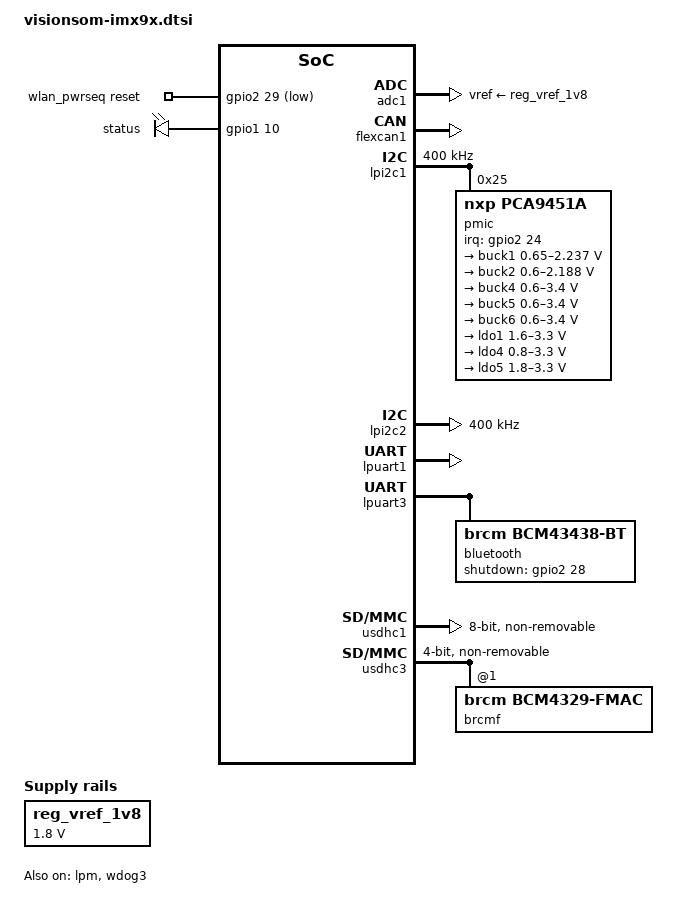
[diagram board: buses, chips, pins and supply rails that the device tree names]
// SPDX-License-Identifier: (GPL-2.0+ OR MIT)
/*
 * Copyright 2025 Somlabs
 */

// /dts-v1/;

&ele_fw2 {
	memory-region = <&ele_reserved>;
};

/ {
	chosen {
		stdout-path = &lpuart1;
	};

	reserved-memory {
		#address-cells = <2>;
		#size-cells = <2>;
		ranges;

		linux,cma {
			compatible = "shared-dma-pool";
			reusable;
			alloc-ranges = <0 0x80000000 0 0x40000000>;
			size = <0 0x10000000>;
			linux,cma-default;
		};

		ele_reserved: ele-reserved@a4120000 {
			compatible = "shared-dma-pool";
			reg = <0 0xa4120000 0 0x100000>;
			no-map;
		};
	};

	reg_vref_1v8: regulator-adc-vref {
		compatible = "regulator-fixed";
		regulator-name = "vref_1v8";
		regulator-min-microvolt = <1800000>;
		regulator-max-microvolt = <1800000>;
	};

	wlan_pwrseq: usdhc3_pwrseq {
		compatible = "mmc-pwrseq-simple";
		reset-gpios = <&gpio2 29 GPIO_ACTIVE_LOW>;	// WLAN-EN
	};

        leds {      /* dedicated led for system status */
                compatible = "gpio-leds";
                pinctrl-names = "default";
                pinctrl-0 = <&pinctrl_gpio_led>;

                status {
                        label = "status";
                        gpios = <&gpio1 10 0>;
                        linux,default-trigger = "heartbeat";
                };
        };
};

&sai1 {
	#sound-dai-cells = <0>;
	pinctrl-names = "default", "sleep";
	pinctrl-0 = <&pinctrl_sai1>;
	pinctrl-1 = <&pinctrl_sai1_sleep>;
	assigned-clock-rates = <12288000>;
	fsl,sai-mclk-direction-output;
	status = "disabled";
};

&adc1 {
	vref-supply = <&reg_vref_1v8>;
	status = "okay";
};

&flexcan1 {
	pinctrl-names = "default", "sleep";
	pinctrl-0 = <&pinctrl_flexcan1>;
	pinctrl-1 = <&pinctrl_flexcan1_sleep>;
	status = "okay";
};

&lpm {
	soc-supply = <&buck1>;
	status = "okay";
};

&lpi2c1 {
	#address-cells = <1>;
	#size-cells = <0>;
	clock-frequency = <400000>;
	pinctrl-names = "default", "sleep";
	pinctrl-0 = <&pinctrl_lpi2c1>;
	pinctrl-1 = <&pinctrl_lpi2c1>;
	status = "okay";

	pmic@25 {
		compatible = "nxp,pca9451a";
		reg = <0x25>;
		interrupt-parent = <&gpio2>;
		interrupts = <24 IRQ_TYPE_EDGE_FALLING>;

		pinctrl-names = "default";
		pinctrl-0 = <&pinctrl_pmic_int>;

		regulators {
			buck1: BUCK1 {
				regulator-name = "BUCK1";
				regulator-min-microvolt = <650000>;
				regulator-max-microvolt = <2237500>;
				regulator-boot-on;
				regulator-always-on;
				regulator-ramp-delay = <3125>;
			};

			buck2: BUCK2 {
				regulator-name = "BUCK2";
				regulator-min-microvolt = <600000>;
				regulator-max-microvolt = <2187500>;
				regulator-boot-on;
				regulator-always-on;
				regulator-ramp-delay = <3125>;
			};

			buck4: BUCK4{
				regulator-name = "BUCK4";
				regulator-min-microvolt = <600000>;
				regulator-max-microvolt = <3400000>;
				regulator-boot-on;
				regulator-always-on;
			};

			buck5: BUCK5{
				regulator-name = "BUCK5";
				regulator-min-microvolt = <600000>;
				regulator-max-microvolt = <3400000>;
				regulator-boot-on;
				regulator-always-on;
			};

			buck6: BUCK6 {
				regulator-name = "BUCK6";
				regulator-min-microvolt = <600000>;
				regulator-max-microvolt = <3400000>;
				regulator-boot-on;
				regulator-always-on;
			};

			ldo1: LDO1 {
				regulator-name = "LDO1";
				regulator-min-microvolt = <1600000>;
				regulator-max-microvolt = <3300000>;
				regulator-boot-on;
				regulator-always-on;
			};

			ldo4: LDO4 {
				regulator-name = "LDO4";
				regulator-min-microvolt = <800000>;
				regulator-max-microvolt = <3300000>;
				regulator-boot-on;
				regulator-always-on;
			};

			ldo5: LDO5 {
				regulator-name = "LDO5";
				regulator-min-microvolt = <1800000>;
				regulator-max-microvolt = <3300000>;
				regulator-boot-on;
				regulator-always-on;
			};
		};
	};

};

&lpi2c2 {
	#address-cells = <1>;
	#size-cells = <0>;
	clock-frequency = <400000>;
	pinctrl-names = "default", "sleep";
	pinctrl-0 = <&pinctrl_lpi2c2>;
	pinctrl-1 = <&pinctrl_lpi2c2>;
	status = "okay";

};

&lpi2c8 {
	#address-cells = <1>;
	#size-cells = <0>;
	clock-frequency = <400000>;
	pinctrl-names = "default", "sleep";
	pinctrl-0 = <&pinctrl_lpi2c8>;
	pinctrl-1 = <&pinctrl_lpi2c8>;
	status = "disabled";
};

&lpuart1 { /* console */
	pinctrl-names = "default";
	pinctrl-0 = <&pinctrl_uart1>;
	status = "okay";
};

&lpuart3 {
	#address-cells = <1>;
	#size-cells = <0>;
	/* BT */
	pinctrl-names = "default";
	pinctrl-0 = <&pinctrl_uart3>, <&pinctrl_bt_ctrl>;
	status = "okay";

	bluetooth {
		compatible = "brcm,bcm43438-bt";
		max-speed = <3000000>;
		shutdown-gpios = <&gpio2 28 GPIO_ACTIVE_HIGH>;
	};
};

&usdhc1 {       /* on board eMMC */
	pinctrl-names = "default", "state_100mhz", "state_200mhz";
	pinctrl-0 = <&pinctrl_usdhc1>;
	pinctrl-1 = <&pinctrl_usdhc1_100mhz>;
	pinctrl-2 = <&pinctrl_usdhc1_200mhz>;
	bus-width = <8>;
	non-removable;
	status = "okay";
};

&usdhc2 {       /* SDIO exposed on SODIMM - disabled by default */
	pinctrl-names = "default", "state_100mhz", "state_200mhz", "sleep";
	pinctrl-0 = <&pinctrl_usdhc2>;
	pinctrl-1 = <&pinctrl_usdhc2_100mhz>;
	pinctrl-2 = <&pinctrl_usdhc2_200mhz>;
	pinctrl-3 = <&pinctrl_usdhc2_sleep>;
	// vmmc-supply = <&reg_usdhc2_vmmc>;
	bus-width = <4>;
	status = "disabled";
};

&usdhc3 {       /* on-board WiFi module Murata 1YN */
	pinctrl-names = "default", "state_100mhz", "state_200mhz", "sleep";
	pinctrl-0 = <&pinctrl_usdhc3>, <&pinctrl_usdhc3_wlan>;
	pinctrl-1 = <&pinctrl_usdhc3_100mhz>, <&pinctrl_usdhc3_wlan>;
	pinctrl-2 = <&pinctrl_usdhc3_200mhz>, <&pinctrl_usdhc3_wlan>;
	pinctrl-3 = <&pinctrl_usdhc3_sleep>, <&pinctrl_usdhc3_wlan>;
	bus-width = <4>;
	pm-ignore-notify;
	keep-power-in-suspend;
	non-removable;
	wakeup-source;
	mmc-pwrseq = <&wlan_pwrseq>;
	cap-power-off-card;
	status = "okay";
	#address-cells = <1>;
	#size-cells = <0>;

	brcmf: bcrmf@1 {
		reg = <1>;
		compatible = "brcm,bcm4329-fmac";
	};
};

&wdog3 {
	status = "okay";
};
